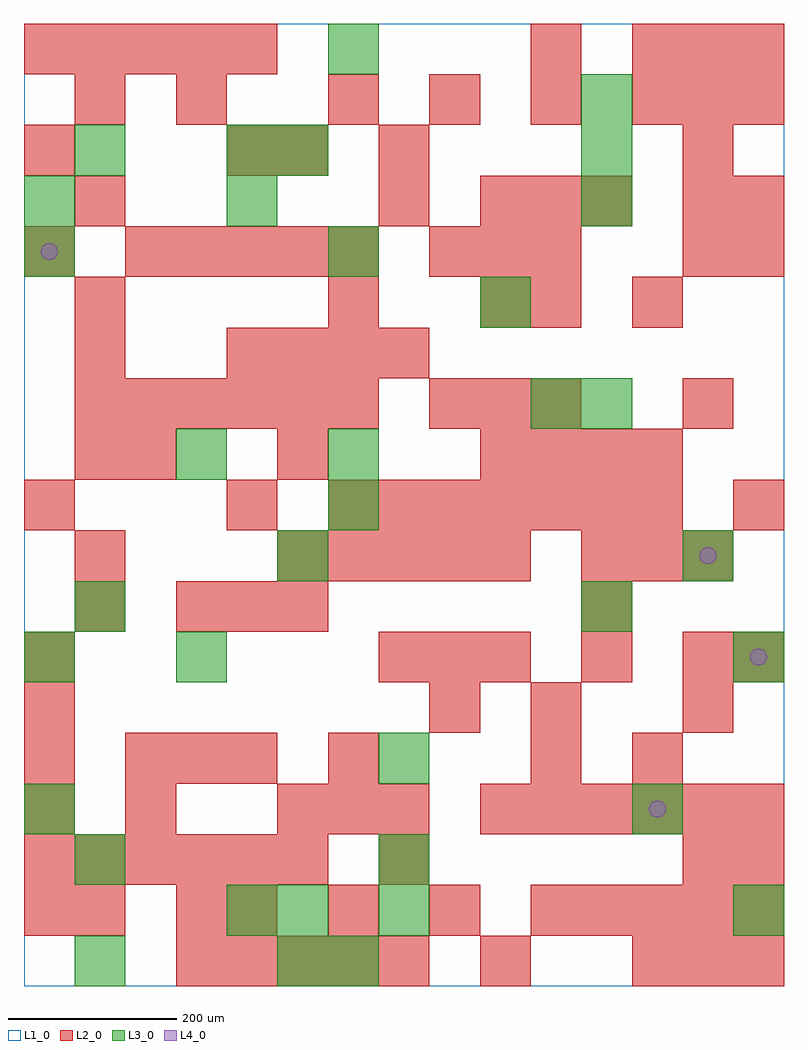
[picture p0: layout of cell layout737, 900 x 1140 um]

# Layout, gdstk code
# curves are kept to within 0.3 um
import gdstk
lib = gdstk.Library(unit=1e-6, precision=1e-09)
def R(c, l, rs):  # rectangles x0, y0, x1, y1
    for r in rs: c.add(gdstk.rectangle(r[:2], r[2:], *l))
def A(c, l, x, y, w, h, nx, ny, dx, dy):  # array of equal rectangles
    R(c, l, [(x+i*dx, y+j*dy, x+i*dx+w, y+j*dy+h) for i in range(nx) for j in range(ny)])
def P(c, l, *ps):  # polygons
    for p in ps: c.add(gdstk.Polygon(p, *l))
L1_0 = (1, 0)
L2_0 = (2, 0)
L3_0 = (3, 0)
L4_0 = (4, 0)

layout737 = lib.new_cell('layout737')
R(layout737, L1_0, [(0,0,900,1140)])
A(layout737, L2_0, 180, 0, 60, 60, 5, 1, 60, 0)
A(layout737, L2_0, 720, 0, 60, 60, 3, 2, 60, 1080)
A(layout737, L2_0, 240, 60, 60, 60, 4, 1, 120, 0)
A(layout737, L2_0, 660, 60, 60, 60, 4, 1, 60, 0)
A(layout737, L2_0, 0, 120, 60, 60, 6, 1, 60, 0)
A(layout737, L2_0, 0, 180, 60, 60, 1, 4, 0, 60)
A(layout737, L2_0, 300, 180, 60, 60, 3, 1, 60, 0)
A(layout737, L2_0, 540, 180, 60, 60, 6, 1, 60, 0)
A(layout737, L2_0, 120, 240, 60, 60, 3, 1, 60, 0)
A(layout737, L2_0, 420, 360, 60, 60, 3, 1, 60, 0)
A(layout737, L2_0, 180, 420, 60, 60, 3, 1, 60, 0)
A(layout737, L2_0, 60, 480, 60, 60, 1, 3, 0, 120)
A(layout737, L2_0, 300, 480, 60, 60, 5, 1, 60, 0)
A(layout737, L2_0, 660, 480, 60, 60, 3, 1, 60, 0)
A(layout737, L2_0, 360, 540, 60, 60, 7, 1, 60, 0)
A(layout737, L2_0, 540, 600, 60, 60, 4, 1, 60, 0)
A(layout737, L2_0, 60, 660, 60, 60, 6, 1, 60, 0)
A(layout737, L2_0, 480, 660, 60, 60, 3, 2, 60, 180)
A(layout737, L2_0, 240, 720, 60, 60, 4, 1, 60, 0)
A(layout737, L2_0, 60, 780, 60, 60, 1, 3, 0, 120)
A(layout737, L2_0, 120, 840, 60, 60, 5, 1, 60, 0)
A(layout737, L2_0, 780, 840, 60, 60, 1, 4, 0, 60)
A(layout737, L2_0, 540, 900, 60, 60, 3, 1, 60, 0)
A(layout737, L2_0, 360, 1020, 60, 60, 4, 1, 120, 0)
A(layout737, L2_0, 0, 1080, 60, 60, 5, 1, 60, 0)
R(layout737, L2_0, [(540,0,600,60), (0,60,60,120), (60,60,120,120), (180,60,240,120), (420,120,480,180), (780,120,840,180), (840,120,900,180), (120,180,180,240), (360,240,420,300), (600,240,660,300), (720,240,780,300), (480,300,540,360), (600,300,660,360), (780,300,840,360), (660,360,720,420), (780,360,840,420), (840,360,900,420), (60,420,120,480), (660,420,720,480), (0,540,60,600), (240,540,300,600), (840,540,900,600), (120,600,180,660), (300,600,360,660), (780,660,840,720), (360,780,420,840), (540,780,600,840), (600,780,660,840), (720,780,780,840), (0,840,60,900), (840,840,900,900), (420,900,480,960), (840,900,900,960), (0,960,60,1020), (240,960,300,1020), (300,960,360,1020), (420,960,480,1020), (180,1020,240,1080), (840,1020,900,1080), (600,1080,660,1140)])
A(layout737, L3_0, 660, 420, 60, 60, 1, 3, 0, 240)
A(layout737, L3_0, 360, 600, 60, 60, 1, 3, 0, 240)
R(layout737, L3_0, [(60,0,120,60), (300,0,360,60), (360,0,420,60), (240,60,300,120), (300,60,360,120), (420,60,480,120), (840,60,900,120), (60,120,120,180), (420,120,480,180), (0,180,60,240), (720,180,780,240), (420,240,480,300), (0,360,60,420), (180,360,240,420), (840,360,900,420), (60,420,120,480), (300,480,360,540), (780,480,840,540), (360,540,420,600), (180,600,240,660), (600,660,660,720), (540,780,600,840), (0,840,60,900), (0,900,60,960), (240,900,300,960), (60,960,120,1020), (240,960,300,1020), (300,960,360,1020), (660,960,720,1020), (660,1020,720,1080)])
P(layout737, L4_0, [(40,870),(39.239,873.827),(37.071,877.071),(33.827,879.239),(30,880),(26.173,879.239),(22.929,877.071),(20.761,873.827),(20,870),(20.761,866.173),(22.929,862.929),(26.173,860.761),(30,860),(33.827,860.761),(37.071,862.929),(39.239,866.173)],
  [(760,210),(759.239,213.827),(757.071,217.071),(753.827,219.239),(750,220),(746.173,219.239),(742.929,217.071),(740.761,213.827),(740,210),(740.761,206.173),(742.929,202.929),(746.173,200.761),(750,200),(753.827,200.761),(757.071,202.929),(759.239,206.173)],
  [(820,510),(819.239,513.827),(817.071,517.071),(813.827,519.239),(810,520),(806.173,519.239),(802.929,517.071),(800.761,513.827),(800,510),(800.761,506.173),(802.929,502.929),(806.173,500.761),(810,500),(813.827,500.761),(817.071,502.929),(819.239,506.173)],
  [(880,390),(879.239,393.827),(877.071,397.071),(873.827,399.239),(870,400),(866.173,399.239),(862.929,397.071),(860.761,393.827),(860,390),(860.761,386.173),(862.929,382.929),(866.173,380.761),(870,380),(873.827,380.761),(877.071,382.929),(879.239,386.173)])

lib.write_gds('layout737.gds')
